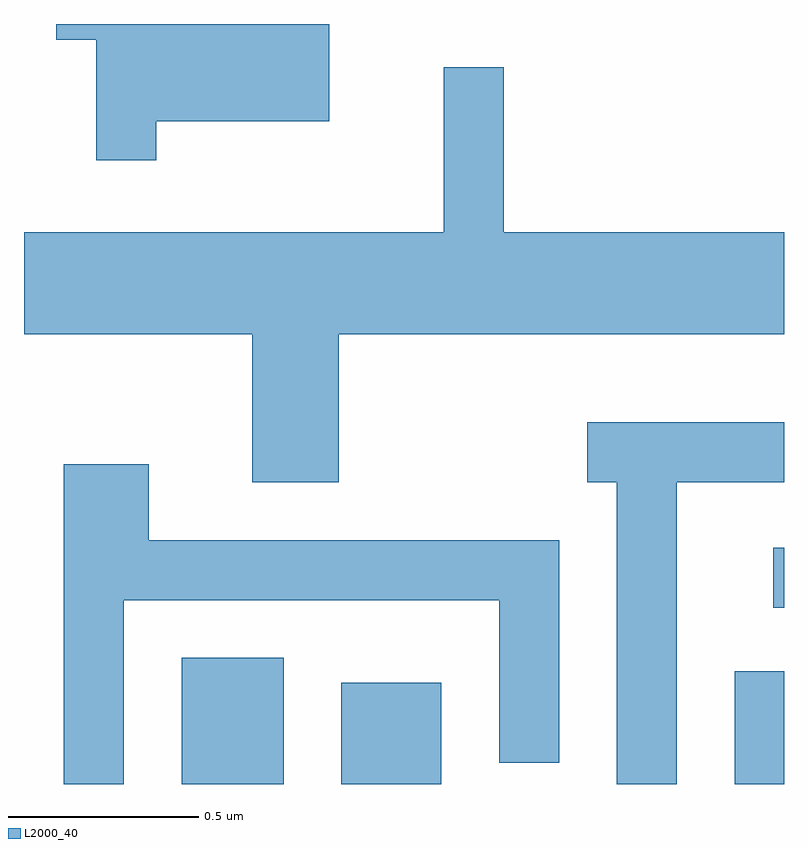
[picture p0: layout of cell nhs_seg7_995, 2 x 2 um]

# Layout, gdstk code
import gdstk
lib = gdstk.Library(unit=1e-6, precision=1e-09)
def R(c, l, rs):  # rectangles x0, y0, x1, y1
    for r in rs: c.add(gdstk.rectangle(r[:2], r[2:], *l))
def P(c, l, *ps):  # polygons
    for p in ps: c.add(gdstk.Polygon(p, *l))
L2000_40 = (2000, 40)

nhs_seg7_995 = lib.new_cell('nhs_seg7_995')
R(nhs_seg7_995, L2000_40, [(193.026,1704.252,193.294,1704.584), (193.446,1704.252,193.709,1704.519), (194.481,1704.252,194.611,1704.549), (194.583,1704.716,194.611,1704.874)])
P(nhs_seg7_995, L2000_40, [(192.959,1705.996),(193.414,1705.996),(193.414,1706.252),(192.696,1706.252),(192.696,1706.211),(192.801,1706.211),(192.801,1705.893),(192.959,1705.893)],
  [(193.439,1705.436),(194.611,1705.436),(194.611,1705.704),(193.874,1705.704),(193.874,1706.138),(193.716,1706.138),(193.716,1705.704),(192.611,1705.704),(192.611,1705.436),(193.211,1705.436),(193.211,1705.046),(193.439,1705.046)],
  [(194.329,1705.046),(194.611,1705.046),(194.611,1705.204),(194.093,1705.204),(194.093,1705.046),(194.171,1705.046),(194.171,1704.252),(194.329,1704.252)],
  [(192.874,1704.736),(193.861,1704.736),(193.861,1704.308),(194.019,1704.308),(194.019,1704.894),(192.939,1704.894),(192.939,1705.094),(192.716,1705.094),(192.716,1704.252),(192.874,1704.252)])

lib.write_gds('nhs_seg7_995.gds')
